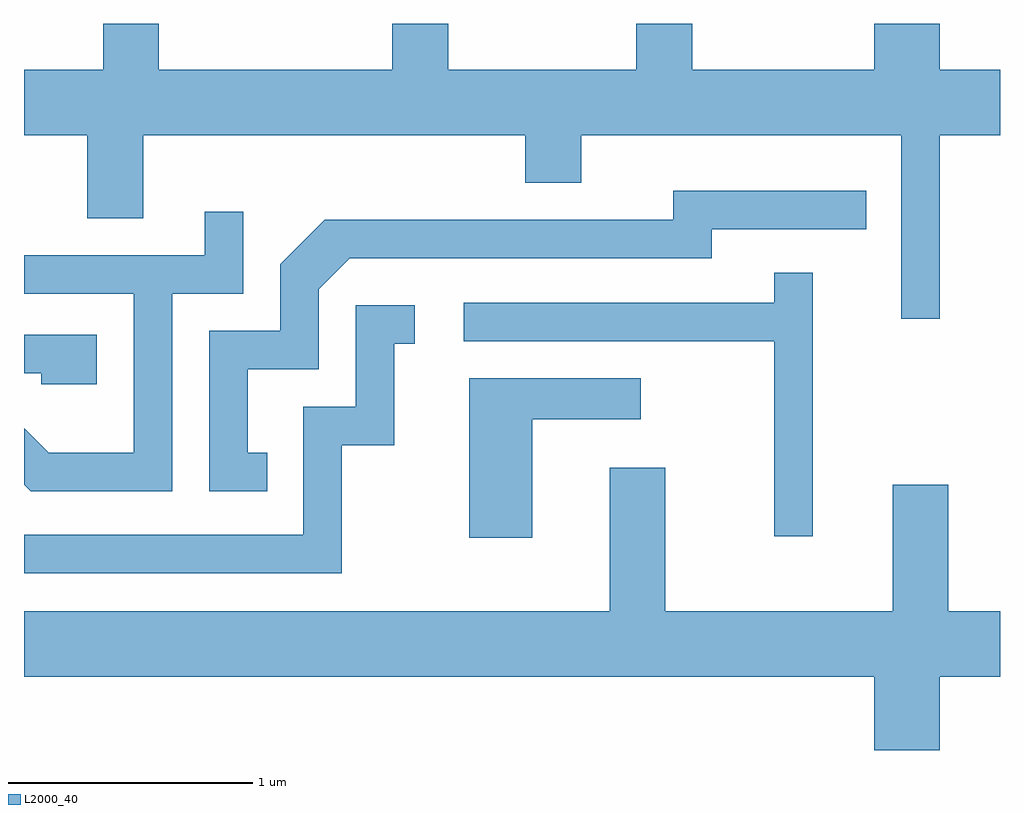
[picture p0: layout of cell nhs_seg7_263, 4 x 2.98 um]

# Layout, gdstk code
import gdstk
lib = gdstk.Library(unit=1e-6, precision=1e-09)
def P(c, l, *ps):  # polygons
    for p in ps: c.add(gdstk.Polygon(p, *l))
L2000_40 = (2000, 40)

nhs_seg7_263 = lib.new_cell('nhs_seg7_263')
P(nhs_seg7_263, L2000_40, [(195.364,1789.796),(195.611,1789.796),(195.611,1790.064),(195.364,1790.064),(195.364,1790.252),(195.096,1790.252),(195.096,1790.064),(194.349,1790.064),(194.349,1790.252),(194.121,1790.252),(194.121,1790.064),(193.349,1790.064),(193.349,1790.252),(193.121,1790.252),(193.121,1790.064),(192.164,1790.064),(192.164,1790.252),(191.936,1790.252),(191.936,1790.064),(191.611,1790.064),(191.611,1789.796),(191.871,1789.796),(191.871,1789.456),(192.099,1789.456),(192.099,1789.796),(193.666,1789.796),(193.666,1789.601),(193.894,1789.601),(193.894,1789.796),(195.206,1789.796),(195.206,1789.043),(195.364,1789.043)],
  [(192.608,1788.494),(192.529,1788.494),(192.529,1788.836),(192.819,1788.836),(192.819,1789.164),(192.947,1789.291),(194.429,1789.291),(194.429,1789.411),(195.063,1789.411),(195.063,1789.569),(194.271,1789.569),(194.271,1789.449),(192.844,1789.449),(192.661,1789.267),(192.661,1788.994),(192.371,1788.994),(192.371,1788.336),(192.608,1788.336)],
  [(192.219,1789.146),(192.509,1789.146),(192.509,1789.483),(192.351,1789.483),(192.351,1789.304),(191.611,1789.304),(191.611,1789.146),(192.061,1789.146),(192.061,1788.494),(191.712,1788.494),(191.611,1788.595),(191.611,1788.364),(191.639,1788.336),(192.219,1788.336)],
  [(194.844,1789.233),(194.686,1789.233),(194.686,1789.109),(193.413,1789.109),(193.413,1788.951),(194.686,1788.951),(194.686,1788.153),(194.844,1788.153)],
  [(192.914,1788.526),(193.129,1788.526),(193.129,1788.941),(193.213,1788.941),(193.213,1789.099),(192.971,1789.099),(192.971,1788.684),(192.756,1788.684),(192.756,1788.159),(191.611,1788.159),(191.611,1788.001),(192.914,1788.001)],
  [(191.909,1788.979),(191.611,1788.979),(191.611,1788.821),(191.681,1788.821),(191.681,1788.776),(191.909,1788.776)],
  [(193.694,1788.631),(194.138,1788.631),(194.138,1788.799),(193.436,1788.799),(193.436,1788.146),(193.694,1788.146)],
  [(195.364,1787.576),(195.611,1787.576),(195.611,1787.844),(195.399,1787.844),(195.399,1788.364),(195.171,1788.364),(195.171,1787.844),(194.239,1787.844),(194.239,1788.434),(194.011,1788.434),(194.011,1787.844),(191.611,1787.844),(191.611,1787.576),(195.096,1787.576),(195.096,1787.276),(195.364,1787.276)])

lib.write_gds('nhs_seg7_263.gds')
